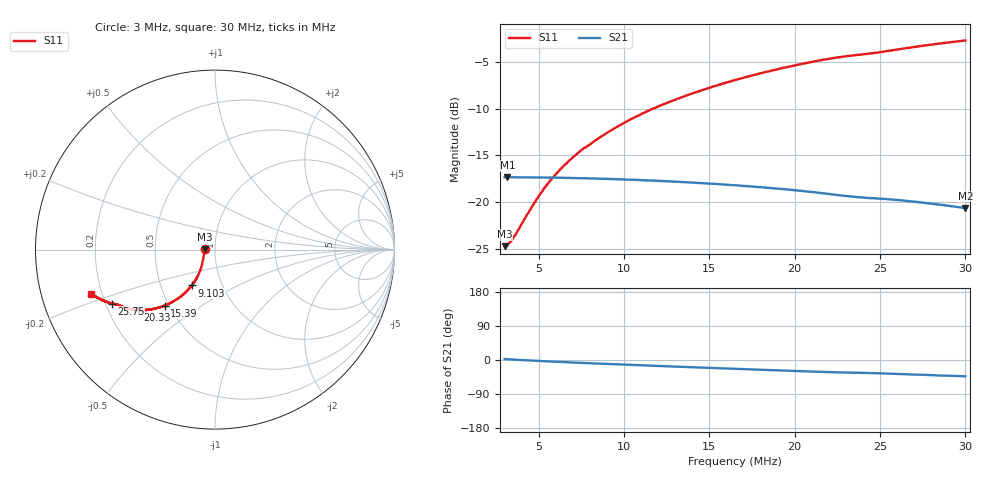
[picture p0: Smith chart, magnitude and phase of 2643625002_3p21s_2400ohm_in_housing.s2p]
# HZ S RI R 50
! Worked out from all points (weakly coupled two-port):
!   1023 points, 3 MHz to 30 MHz, reference 50 ohm
!   highest |S21| = -17.33 dB at 3.159 MHz (marker M1); lowest = -20.6 dB at 30 MHz (marker M2)
!   lowest |S11| = -24.7 dB at 3 MHz (marker M3), VSWR 1.12, Z = 44.5 + j0.299 ohm
!   |S11| at or under -10 dB: start of sweep to 11.7 MHz
!   S12 and S22 are empty: the file has one direction only
!   S11 on the Smith chart (normalised r, x): 3 MHz: 0.89, +0.01; 9.103 MHz: 0.72, -0.30; 15.39 MHz: 0.47, -0.36; 20.33 MHz: 0.33, -0.31; 25.75 MHz: 0.22, -0.23; 30 MHz: 0.16, -0.17
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3000000  -0.058 0.00334  0.1355 0.00607  0 0  0 0
3158514  -0.0589 -0.00439  0.1359 0.00499  0 0  0 0
3317028  -0.0594 -0.0124  0.1357 0.00387  0 0  0 0
3554799  -0.0612 -0.0233  0.1356 0.00204  0 0  0 0
4743654  -0.0698 -0.0707  0.1353 -0.00462  0 0  0 0
5430548  -0.0757 -0.0954  0.135 -0.00804  0 0  0 0
6381632  -0.0865 -0.1262  0.1342 -0.0126  0 0  0 0
7517649  -0.1023 -0.1597  0.1329 -0.018  0 0  0 0
9102789  -0.1289 -0.1998  0.1306 -0.024  0 0  0 0
1.0503e7  -0.1578 -0.2313  0.1284 -0.0299  0 0  0 0
1.200888e7  -0.192 -0.2625  0.1251 -0.035  0 0  0 0
1.362044e7  -0.2326 -0.2883  0.1212 -0.0403  0 0  0 0
1.539051e7  -0.2807 -0.3115  0.1163 -0.0458  0 0  0 0
1.650011e7  -0.3133 -0.3231  0.113 -0.0486  0 0  0 0
1.827018e7  -0.366 -0.3341  0.1073 -0.0528  0 0  0 0
2.033086e7  -0.43 -0.3371  0.1 -0.0567  0 0  0 0
2.101776e7  -0.4513 -0.3356  0.0974 -0.0575  0 0  0 0
2.313128e7  -0.5127 -0.3197  0.09 -0.0587  0 0  0 0
2.550899e7  -0.5695 -0.3016  0.0838 -0.061  0 0  0 0
2.574676e7  -0.5755 -0.3003  0.083 -0.061  0 0  0 0
2.772818e7  -0.6297 -0.2801  0.076 -0.0629  0 0  0 0
3.000022e7  -0.6884 -0.2456  0.068 -0.0633  0 0  0 0
